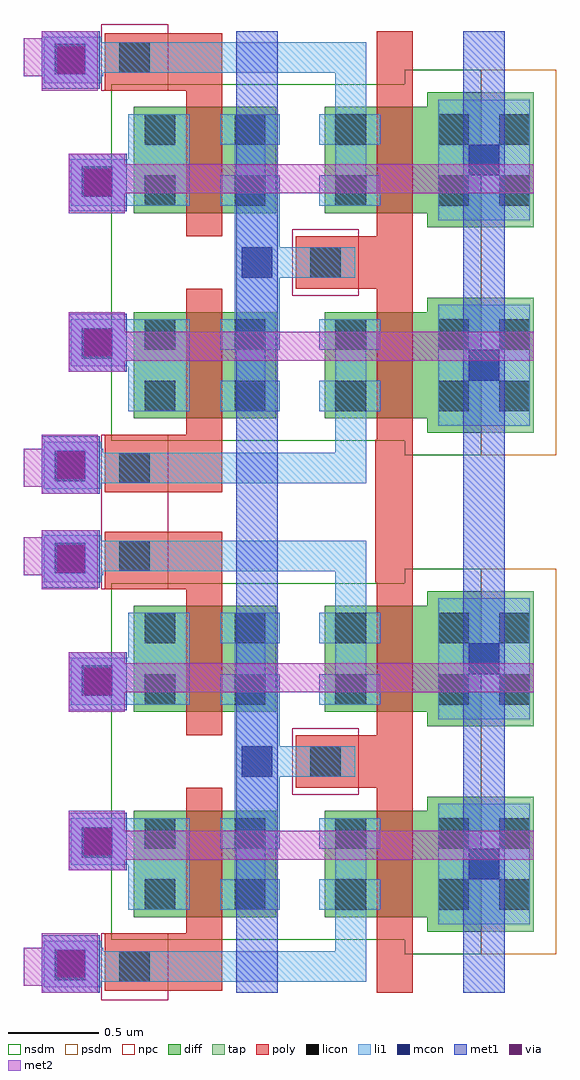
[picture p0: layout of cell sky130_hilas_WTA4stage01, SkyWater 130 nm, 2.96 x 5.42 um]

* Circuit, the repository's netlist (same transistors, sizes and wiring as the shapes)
* Copyright 2020 The Hilas PDK Authors
* 
* This file is part of HILAS.
* 
* HILAS is free software: you can redistribute it and/or modify
* it under the terms of the GNU Lesser General Public License as published by
* the Free Software Foundation, version 3 of the License.
* 
* HILAS is distributed in the hope that it will be useful,
* but WITHOUT ANY WARRANTY; without even the implied warranty of
* MERCHANTABILITY or FITNESS FOR A PARTICULAR PURPOSE.  See the
* GNU Lesser General Public License for more details.
* 
* You should have received a copy of the GNU Lesser General Public License
* along with HILAS.  If not, see <https://www.gnu.org/licenses/>.
* 
* Licensed under the Lesser General Public License, Version 3.0 (the "License");
* you may not use this file except in compliance with the License.
* You may obtain a copy of the License at
* 
* https://www.gnu.org/licenses/lgpl-3.0.en.html
* 
* Unless required by applicable law or agreed to in writing, software
* distributed under the License is distributed on an "AS IS" BASIS,
* WITHOUT WARRANTIES OR CONDITIONS OF ANY KIND, either express or implied.
* See the License for the specific language governing permissions and
* limitations under the License.
* 
* SPDX-License-Identifier: LGPL-3.0
* 
* 

* NGSPICE file created from sky130_hilas_WTA4stage01.ext - technology: sky130A

.subckt sky130_hilas_WTAsinglestage01 a_4_n68# sky130_hilas_li2m2_1/SUB
X0 sky130_hilas_li2m2_1/SUB a_4_n68# a_n126_n150# sky130_hilas_li2m2_1/SUB sky130_fd_pr__nfet_01v8 w=590000u l=200000u
X1 a_4_n68# a_n126_n150# a_n94_n68# sky130_hilas_li2m2_1/SUB sky130_fd_pr__nfet_01v8 w=590000u l=200000u
.ends


* Top level circuit sky130_hilas_WTA4stage01

Xsky130_hilas_WTAsinglestage01_0 a_284_2# SUB sky130_hilas_WTAsinglestage01
Xsky130_hilas_WTAsinglestage01_1 a_284_2# SUB sky130_hilas_WTAsinglestage01
Xsky130_hilas_WTAsinglestage01_2 a_284_2# SUB sky130_hilas_WTAsinglestage01
Xsky130_hilas_WTAsinglestage01_3 a_284_2# SUB sky130_hilas_WTAsinglestage01
.end

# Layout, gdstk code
import gdstk
lib = gdstk.Library(unit=1e-6, precision=1e-09)
def R(c, l, rs):  # rectangles x0, y0, x1, y1
    for r in rs: c.add(gdstk.rectangle(r[:2], r[2:], *l))
diff = (65, 20)
tap = (65, 44)
poly = (66, 20)
licon = (66, 44)
li1 = (67, 20)
mcon = (67, 44)
met1 = (68, 20)
via = (68, 44)
met2 = (69, 20)
nsdm = (93, 44)
psdm = (94, 20)
npc = (95, 20)

sky130_hilas_li2m2 = lib.new_cell('sky130_hilas_li2m2')
R(sky130_hilas_li2m2, li1, [(-0.13,-0.12,0.19,-0.09), (-0.13,-0.09,0.2,0.1), (-0.13,0.1,0.19,0.14)])
R(sky130_hilas_li2m2, mcon, [(-0.07,-0.08,0.1,0.09)])
R(sky130_hilas_li2m2, met1, [(-0.14,-0.15,0.18,0.17)])
R(sky130_hilas_li2m2, via, [(-0.055,-0.065,0.095,0.085)])
R(sky130_hilas_li2m2, met2, [(-0.14,-0.15,0.17,0.18)])

sky130_hilas_wtasinglest = lib.new_cell('sky130_hilas_WTAsinglestage01')
R(sky130_hilas_wtasinglest, diff, [(1.16,-0.42,1.46,-0.34), (-0.47,-0.34,0.32,0.25), (0.59,-0.34,1.46,0.25), (1.16,0.25,1.46,0.33)])
R(sky130_hilas_wtasinglest, tap, [(1.46,-0.42,1.75,0.33)])
R(sky130_hilas_wtasinglest, poly, [(-0.63,-0.75,0.02,-0.43), (0.88,-0.47,1.08,0.38), (-0.18,-0.43,0.02,0.38), (0.43,0.38,1.08,0.66)])
R(sky130_hilas_wtasinglest, licon, [(-0.55,-0.7,-0.38,-0.53), (-0.41,-0.3,-0.24,-0.13), (0.09,-0.3,0.26,-0.13), (0.65,-0.3,0.82,-0.13), (1.22,-0.3,1.39,-0.13), (1.56,-0.3,1.73,-0.13), (-0.41,0.04,-0.24,0.21), (0.09,0.04,0.26,0.21), (0.65,0.04,0.82,0.21), (1.22,0.04,1.39,0.21), (1.56,0.04,1.73,0.21), (0.51,0.44,0.68,0.61)])
R(sky130_hilas_wtasinglest, li1, [(-0.64,-0.7,0.82,-0.53), (0.65,-0.53,0.82,-0.3), (1.22,-0.38,1.73,0.29), (-0.5,-0.3,-0.16,0.21), (0.01,-0.3,0.34,-0.13), (0.56,-0.3,0.9,-0.13), (0.09,-0.13,0.26,0.04), (0.65,-0.13,0.82,0.04), (0.01,0.04,0.34,0.21), (0.56,0.04,0.9,0.21), (0.09,0.21,0.34,0.44), (0.09,0.44,0.76,0.61), (0.11,0.61,0.32,0.63)])
R(sky130_hilas_wtasinglest, mcon, [(1.39,-0.13,1.56,0.04), (0.13,0.44,0.3,0.61)])
R(sky130_hilas_wtasinglest, met1, [(0.1,-0.76,0.33,0.67), (1.36,-0.76,1.59,0.53)])
R(sky130_hilas_wtasinglest, met2, [(-1.08,-0.72,-0.96,-0.51), (-0.54,-0.02,1.75,0.14)])
R(sky130_hilas_wtasinglest, nsdm, [(1.035,-0.545,1.46,-0.465), (-0.595,-0.465,1.46,0.375), (1.035,0.375,1.46,0.455)])
R(sky130_hilas_wtasinglest, psdm, [(1.46,-0.545,1.875,0.455)])
R(sky130_hilas_wtasinglest, npc, [(-0.65,-0.8,-0.28,-0.43), (0.41,0.34,0.78,0.71)])
sky130_hilas_wtasinglest.add(gdstk.Reference(sky130_hilas_li2m2, (-0.69,0.07)))
sky130_hilas_wtasinglest.add(gdstk.Reference(sky130_hilas_li2m2, (-0.84,-0.61)))

sky130_hilas_wta4stage01 = lib.new_cell('sky130_hilas_WTA4stage01')
R(sky130_hilas_wta4stage01, poly, [(1.42,0.01,1.62,0.3), (1.41,2.29,1.62,3.08), (1.42,5.06,1.62,5.35)])
R(sky130_hilas_wta4stage01, met1, [(0.64,2.58,0.87,2.78), (1.9,2.58,2.13,2.79)])
R(sky130_hilas_wta4stage01, nsdm, [(-0.055,1.145,1.575,1.225), (-0.055,1.225,2,1.365), (-0.055,1.365,1.575,1.445), (-0.055,3.915,1.575,3.995), (-0.055,3.995,2,4.135), (-0.055,4.135,1.575,4.215)])
R(sky130_hilas_wta4stage01, psdm, [(2,1.225,2.415,1.365), (2,3.995,2.415,4.135)])
R(sky130_hilas_wta4stage01, npc, [(-0.11,2.62,0.26,2.74)])
sky130_hilas_wta4stage01.add(gdstk.Reference(sky130_hilas_wtasinglest, (0.54,3.54)))
sky130_hilas_wta4stage01.add(gdstk.Reference(sky130_hilas_wtasinglest, (0.54,4.59), x_reflection=True))
sky130_hilas_wta4stage01.add(gdstk.Reference(sky130_hilas_wtasinglest, (0.54,1.82), x_reflection=True))
sky130_hilas_wta4stage01.add(gdstk.Reference(sky130_hilas_wtasinglest, (0.54,0.77)))

lib.write_gds('sky130_hilas_WTA4stage01.gds')
